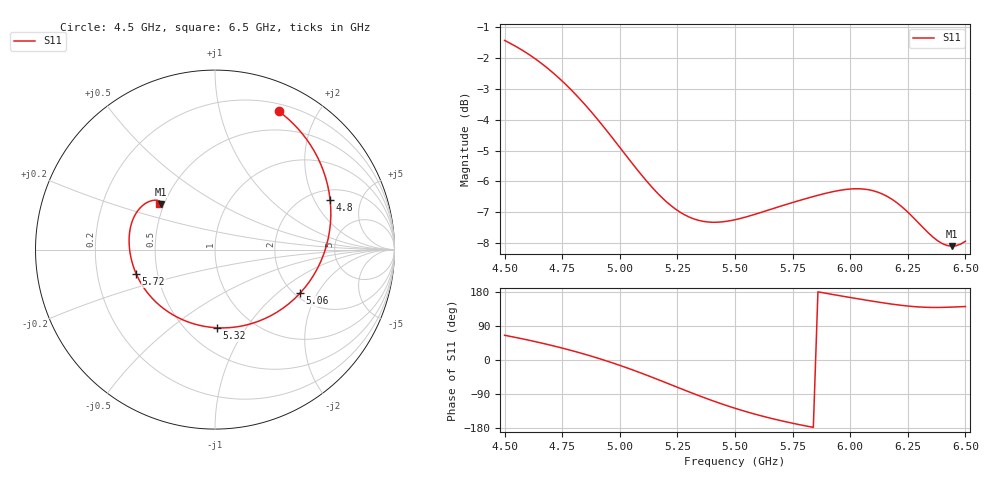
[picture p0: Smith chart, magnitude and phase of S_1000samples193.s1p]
! TOUCHSTONE file generated by CST MICROWAVE STUDIO
! Date and time: Thu Oct 27 08:05:33 2022
! Project name: L.cst
! Parameters = {Di=1.27; Epsilon_r=1.56; InnerDiameter=1.27; Length=2; Lf=10; Lg=60; OuterConductorThickness=0.2921; OuterDiameter=3.6; Wf=3; Wp=41.2; de=1.5; df=6.8; g=0.8; gx=3.128; gy=1.56525; h=2.34; hf=1.524; px=13.1329; py=9.09759; w=9.7; wx=10.0049; wy=7.53235}
! Header version: 2018
! Port assignment regex: !\s*Touchstone port\s*([0-9]+)\s*=\s*(CST MWS port|CST DS port)\s*([0-9]+|Zmin|Zmax)\s*\(\"(.*)\"\)(\s*mode\s*([0-9]+))?.*
! Touchstone port assignment:
! Touchstone port 1 = CST MWS port 1 ("")
# GHz S DB R 50
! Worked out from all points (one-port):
!   101 points, 4.5 GHz to 6.5 GHz, reference 50 ohm
!   lowest |S11| = -8.1 dB at 6.44 GHz (marker M1), VSWR 2.30, Z = 24.1 + j14.5 ohm
!   |S11| at or under -10 dB: nowhere
!   S11 on the Smith chart (normalised r, x): 4.5 GHz: 0.28, +1.53; 4.8 GHz: 2.49, +2.70; 5.06 GHz: 2.13, -1.45; 5.32 GHz: 0.69, -0.74; 5.72 GHz: 0.38, -0.13; 6.5 GHz: 0.47, +0.28
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4.5  -1.43 65.2
4.56  -1.67 58.0
4.62  -1.95 50.2
4.7  -2.41 39.0
4.76  -2.82 29.8
4.8  -3.11 23.4
4.86  -3.60 13.0
4.9  -3.96 5.7
4.94  -4.32 -2.0
5  -4.90 -14.2
5.06  -5.47 -27.1
5.12  -6.02 -40.8
5.16  -6.35 -50.3
5.2  -6.65 -59.9
5.26  -6.99 -74.4
5.32  -7.22 -88.7
5.4  -7.33 -106.9
5.5  -7.25 -127.4
5.6  -7.04 -145.1
5.72  -6.76 -162.9
5.76  -6.66 -168.2
5.88  -6.41 177.7
6  -6.25 165.0
6.14  -6.41 151.1
6.26  -7.07 141.9
6.36  -7.81 138.7
6.44  -8.10 139.6
6.5  -7.94 141.0
